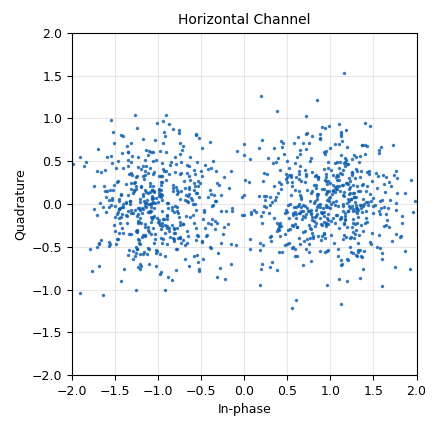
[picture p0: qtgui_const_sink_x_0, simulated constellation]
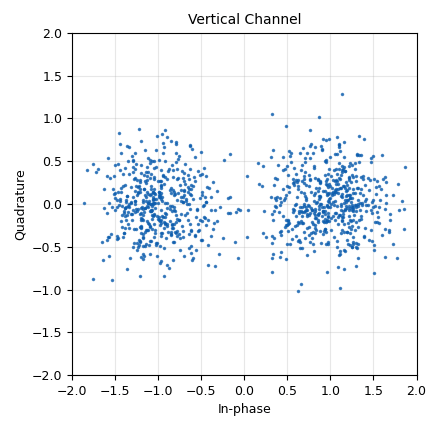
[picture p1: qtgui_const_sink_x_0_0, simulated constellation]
<?xml version='1.0' encoding='utf-8'?>
<?grc format='1' created='3.7.11'?>
<flow_graph>
<block>
<key>options</key>
<param><key>id</key><value>ber_simulation</value></param>
<param><key>author</key><value>Example</value></param>
<param><key>category</key><value>Custom</value></param>
<param><key>description</key><value>Adjust the noise and constellation... see what happens!</value></param>
<param><key>generate_options</key><value>qt_gui</value></param>
<param><key>title</key><value>BER Simulation</value></param>
</block>
<block>
<key>variable_qtgui_range</key>
<param><key>id</key><value>EbN0</value></param>
<param><key>value</key><value>5</value></param>
<param><key>gui_hint</key><value>5,0,1,1</value></param>
<param><key>label</key><value>Eb / N0 (dB)</value></param>
<param><key>min_len</key><value>50</value></param>
<param><key>orient</key><value>Qt.Horizontal</value></param>
<param><key>start</key><value>-20</value></param>
<param><key>step</key><value>1</value></param>
<param><key>stop</key><value>20</value></param>
</block>
<block>
<key>variable</key>
<param><key>id</key><value>const</value></param>
<param><key>value</key><value>(digital.constellation_bpsk(), digital.constellation_qpsk(), digital.constellation_8psk())</value></param>
</block>
<block>
<key>variable_qtgui_chooser</key>
<param><key>id</key><value>const_type</value></param>
<param><key>value</key><value>0</value></param>
<param><key>_enabled</key><value>0</value></param>
<param><key>label0</key><value>BPSK</value></param>
<param><key>label1</key><value>QPSK</value></param>
<param><key>label2</key><value>8PSK</value></param>
<param><key>label</key><value>"Constellation Selection"</value></param>
<param><key>num_opts</key><value>3</value></param>
<param><key>option0</key><value>0</value></param>
<param><key>option1</key><value>1</value></param>
<param><key>option2</key><value>2</value></param>
<param><key>orient</key><value>Qt.QHBoxLayout</value></param>
<param><key>type</key><value>int</value></param>
<param><key>widget</key><value>radio_buttons</value></param>
</block>
<block>
<key>variable</key>
<param><key>id</key><value>const_type</value></param>
<param><key>value</key><value>0</value></param>
</block>
<block>
<key>variable</key>
<param><key>id</key><value>freq</value></param>
<param><key>value</key><value>1e3</value></param>
</block>
<block>
<key>variable_qtgui_range</key>
<param><key>id</key><value>offset</value></param>
<param><key>value</key><value>6*math.pi/20</value></param>
<param><key>gui_hint</key><value>5,1</value></param>
<param><key>label</key><value>Offset</value></param>
<param><key>min_len</key><value>10</value></param>
<param><key>orient</key><value>Qt.Horizontal</value></param>
<param><key>start</key><value>0</value></param>
<param><key>step</key><value>math.pi/20</value></param>
<param><key>stop</key><value>math.pi/2.0</value></param>
</block>
<block>
<key>variable</key>
<param><key>id</key><value>samp_rate</value></param>
<param><key>value</key><value>100e3</value></param>
</block>
<block>
<key>variable</key>
<param><key>id</key><value>samples</value></param>
<param><key>value</key><value>10000000</value></param>
</block>
<block>
<key>variable</key>
<param><key>id</key><value>tx_amp</value></param>
<param><key>_enabled</key><value>0</value></param>
<param><key>value</key><value>10</value></param>
</block>
<block>
<key>variable_qtgui_label</key>
<param><key>id</key><value>variable_qtgui_label_0</value></param>
<param><key>value</key><value>{0: 'BPSK', 1: 'QPSK', 2: '8-PSK'}[const_type] + " - Change const_type for different constellation types!"</value></param>
<param><key>label</key><value>Constellation Type</value></param>
<param><key>type</key><value>string</value></param>
</block>
<block>
<key>Maximal_Combining</key>
<param><key>id</key><value>Maximal_Combining_0</value></param>
</block>
<block>
<key>Selective_Combining</key>
<param><key>id</key><value>Selective_Combining_0</value></param>
</block>
<block>
<key>analog_noise_source_x</key>
<param><key>id</key><value>analog_noise_source_x</value></param>
<param><key>amp</key><value>1.0 / math.sqrt(2.0 * const[const_type].bits_per_symbol() * 10**(math.cos(offset)*math.cos(offset)*EbN0/10))</value></param>
<param><key>noise_type</key><value>analog.GR_GAUSSIAN</value></param>
<param><key>type</key><value>complex</value></param>
<param><key>seed</key><value>-42</value></param>
</block>
<block>
<key>analog_noise_source_x</key>
<param><key>id</key><value>analog_noise_source_x_0</value></param>
<param><key>amp</key><value>1.0 / math.sqrt(2.0 * const[const_type].bits_per_symbol() * 10**(math.cos(math.pi/2-offset)*math.cos(math.pi/2-offset)*EbN0/10))</value></param>
<param><key>noise_type</key><value>analog.GR_GAUSSIAN</value></param>
<param><key>type</key><value>complex</value></param>
<param><key>seed</key><value>-42</value></param>
</block>
<block>
<key>analog_noise_source_x</key>
<param><key>id</key><value>analog_noise_source_x_0_0</value></param>
<param><key>amp</key><value>1.0 / math.sqrt(math.cos(math.pi/2-offset)*math.cos(math.pi/2-offset)*2.0 * const[const_type].bits_per_symbol() * 10**(EbN0/10))</value></param>
<param><key>_enabled</key><value>0</value></param>
<param><key>noise_type</key><value>analog.GR_GAUSSIAN</value></param>
<param><key>type</key><value>complex</value></param>
<param><key>seed</key><value>-42</value></param>
</block>
<block>
<key>analog_noise_source_x</key>
<param><key>id</key><value>analog_noise_source_x_1</value></param>
<param><key>amp</key><value>1.0 / math.sqrt(math.cos(offset)*math.cos(offset)*2.0 * const[const_type].bits_per_symbol() * 10**(EbN0/10))</value></param>
<param><key>_enabled</key><value>0</value></param>
<param><key>noise_type</key><value>analog.GR_GAUSSIAN</value></param>
<param><key>type</key><value>complex</value></param>
<param><key>seed</key><value>-42</value></param>
</block>
<block>
<key>analog_random_source_x</key>
<param><key>id</key><value>analog_random_source_x</value></param>
<param><key>max</key><value>const[const_type].arity()</value></param>
<param><key>min</key><value>0</value></param>
<param><key>num_samps</key><value>samples</value></param>
<param><key>type</key><value>byte</value></param>
<param><key>repeat</key><value>False</value></param>
</block>
<block>
<key>blks2_error_rate</key>
<param><key>id</key><value>blks2_error_rate</value></param>
<param><key>bits_per_symbol</key><value>const[const_type].bits_per_symbol()</value></param>
<param><key>type</key><value>'BER'</value></param>
<param><key>win_size</key><value>samples</value></param>
</block>
<block>
<key>blks2_error_rate</key>
<param><key>id</key><value>blks2_error_rate_0</value></param>
<param><key>bits_per_symbol</key><value>const[const_type].bits_per_symbol()</value></param>
<param><key>type</key><value>'BER'</value></param>
<param><key>win_size</key><value>samples</value></param>
</block>
<block>
<key>blks2_error_rate</key>
<param><key>id</key><value>blks2_error_rate_1</value></param>
<param><key>bits_per_symbol</key><value>const[const_type].bits_per_symbol()</value></param>
<param><key>type</key><value>'BER'</value></param>
<param><key>win_size</key><value>int(1e7)</value></param>
</block>
<block>
<key>blks2_error_rate</key>
<param><key>id</key><value>blks2_error_rate_1_0</value></param>
<param><key>bits_per_symbol</key><value>const[const_type].bits_per_symbol()</value></param>
<param><key>type</key><value>'BER'</value></param>
<param><key>win_size</key><value>int(1e7)</value></param>
</block>
<block>
<key>blocks_add_xx</key>
<param><key>id</key><value>blocks_add_xx</value></param>
<param><key>type</key><value>complex</value></param>
</block>
<block>
<key>blocks_add_xx</key>
<param><key>id</key><value>blocks_add_xx_0</value></param>
<param><key>type</key><value>complex</value></param>
</block>
<block>
<key>blocks_throttle</key>
<param><key>id</key><value>blocks_throttle</value></param>
<param><key>samples_per_second</key><value>samp_rate</value></param>
<param><key>type</key><value>byte</value></param>
</block>
<block>
<key>digital_chunks_to_symbols_xx</key>
<param><key>id</key><value>digital_chunks_to_symbols_xx</value></param>
<param><key>dimension</key><value>1</value></param>
<param><key>in_type</key><value>byte</value></param>
<param><key>out_type</key><value>complex</value></param>
<param><key>symbol_table</key><value>const[const_type].points()</value></param>
</block>
<block>
<key>digital_constellation_decoder_cb</key>
<param><key>id</key><value>digital_constellation_decoder_cb_0</value></param>
<param><key>constellation</key><value>const[const_type].base()</value></param>
</block>
<block>
<key>digital_constellation_decoder_cb</key>
<param><key>id</key><value>digital_constellation_decoder_cb_0_0</value></param>
<param><key>constellation</key><value>const[const_type].base()</value></param>
</block>
<block>
<key>digital_constellation_decoder_cb</key>
<param><key>id</key><value>digital_constellation_decoder_cb_0_0_0</value></param>
<param><key>constellation</key><value>const[const_type].base()</value></param>
</block>
<block>
<key>digital_constellation_decoder_cb</key>
<param><key>id</key><value>digital_constellation_decoder_cb_0_0_0_0</value></param>
<param><key>constellation</key><value>const[const_type].base()</value></param>
</block>
<block>
<key>import</key>
<param><key>id</key><value>import_0</value></param>
<param><key>import</key><value>import math, cmath, numpy</value></param>
</block>
<block>
<key>logpwrfft_x</key>
<param><key>id</key><value>logpwrfft_x_0</value></param>
<param><key>avg_alpha</key><value>1.0</value></param>
<param><key>average</key><value>True</value></param>
<param><key>_enabled</key><value>0</value></param>
<param><key>fft_size</key><value>1024</value></param>
<param><key>frame_rate</key><value>30</value></param>
<param><key>type</key><value>complex</value></param>
<param><key>ref_scale</key><value>2</value></param>
<param><key>sample_rate</key><value>samp_rate</value></param>
</block>
<block>
<key>logpwrfft_x</key>
<param><key>id</key><value>logpwrfft_x_0_0</value></param>
<param><key>avg_alpha</key><value>1.0</value></param>
<param><key>average</key><value>True</value></param>
<param><key>_enabled</key><value>0</value></param>
<param><key>fft_size</key><value>1024</value></param>
<param><key>frame_rate</key><value>30</value></param>
<param><key>type</key><value>complex</value></param>
<param><key>ref_scale</key><value>2</value></param>
<param><key>sample_rate</key><value>samp_rate</value></param>
</block>
<block>
<key>qtgui_const_sink_x</key>
<param><key>id</key><value>qtgui_const_sink_x_0</value></param>
<param><key>gui_hint</key><value>(2,0,1,1)</value></param>
<param><key>grid</key><value>True</value></param>
<param><key>legend</key><value>False</value></param>
<param><key>alpha1</key><value>0.6</value></param>
<param><key>label1</key><value>"Constellation: "+str(const[const_type].arity()) + "-PSK"</value></param>
<param><key>name</key><value>"Horizontal Channel"</value></param>
<param><key>size</key><value>1024</value></param>
<param><key>type</key><value>complex</value></param>
</block>
<block>
<key>qtgui_const_sink_x</key>
<param><key>id</key><value>qtgui_const_sink_x_0_0</value></param>
<param><key>gui_hint</key><value>(2,1,1,1)</value></param>
<param><key>grid</key><value>True</value></param>
<param><key>legend</key><value>False</value></param>
<param><key>alpha1</key><value>0.6</value></param>
<param><key>label1</key><value>"Constellation: "+str(const[const_type].arity()) + "-PSK"</value></param>
<param><key>name</key><value>"Vertical Channel"</value></param>
<param><key>size</key><value>1024</value></param>
<param><key>type</key><value>complex</value></param>
</block>
<block>
<key>qtgui_const_sink_x</key>
<param><key>id</key><value>qtgui_const_sink_x_0_0_0</value></param>
<param><key>gui_hint</key><value>(4,0,1,1)</value></param>
<param><key>grid</key><value>True</value></param>
<param><key>legend</key><value>False</value></param>
<param><key>alpha1</key><value>0.6</value></param>
<param><key>label1</key><value>"Constellation: "+str(const[const_type].arity()) + "-PSK"</value></param>
<param><key>name</key><value>"Result of Maximal Combining"</value></param>
<param><key>size</key><value>1024</value></param>
<param><key>type</key><value>complex</value></param>
<param><key>xmax</key><value>3</value></param>
<param><key>xmin</key><value>-3</value></param>
<param><key>ymax</key><value>3</value></param>
<param><key>ymin</key><value>-3</value></param>
</block>
<block>
<key>qtgui_const_sink_x</key>
<param><key>id</key><value>qtgui_const_sink_x_0_0_0_0</value></param>
<param><key>gui_hint</key><value>4,1,1,1</value></param>
<param><key>grid</key><value>True</value></param>
<param><key>legend</key><value>False</value></param>
<param><key>alpha1</key><value>0.6</value></param>
<param><key>label1</key><value>"Constellation: "+str(const[const_type].arity()) + "-PSK"</value></param>
<param><key>name</key><value>"Result of Selective Combining"</value></param>
<param><key>size</key><value>1024</value></param>
<param><key>type</key><value>complex</value></param>
</block>
<block>
<key>qtgui_number_sink</key>
<param><key>id</key><value>qtgui_number_sink_0</value></param>
<param><key>autoscale</key><value>True</value></param>
<param><key>gui_hint</key><value>1,0,1,1</value></param>
<param><key>graph_type</key><value>qtgui.NUM_GRAPH_HORIZ</value></param>
<param><key>type</key><value>float</value></param>
<param><key>factor1</key><value>1e6</value></param>
<param><key>label1</key><value>BER</value></param>
<param><key>unit1</key><value>x10^-6</value></param>
<param><key>min</key><value>0</value></param>
<param><key>name</key><value>"Horizontal"</value></param>
<param><key>update_time</key><value>0.1</value></param>
</block>
<block>
<key>qtgui_number_sink</key>
<param><key>id</key><value>qtgui_number_sink_0_0</value></param>
<param><key>autoscale</key><value>True</value></param>
<param><key>gui_hint</key><value>1,1,1,1</value></param>
<param><key>graph_type</key><value>qtgui.NUM_GRAPH_HORIZ</value></param>
<param><key>type</key><value>float</value></param>
<param><key>factor1</key><value>1e6</value></param>
<param><key>label1</key><value>BER</value></param>
<param><key>unit1</key><value>x10^-6</value></param>
<param><key>min</key><value>0</value></param>
<param><key>name</key><value>"Vertical"</value></param>
<param><key>update_time</key><value>0.1</value></param>
</block>
<block>
<key>qtgui_number_sink</key>
<param><key>id</key><value>qtgui_number_sink_0_0_0</value></param>
<param><key>autoscale</key><value>True</value></param>
<param><key>gui_hint</key><value>3,0,1,1</value></param>
<param><key>graph_type</key><value>qtgui.NUM_GRAPH_HORIZ</value></param>
<param><key>type</key><value>float</value></param>
<param><key>factor1</key><value>1e6</value></param>
<param><key>label1</key><value>BER</value></param>
<param><key>unit1</key><value>x10^-6</value></param>
<param><key>min</key><value>0</value></param>
<param><key>name</key><value>"Maximally Combined"</value></param>
<param><key>update_time</key><value>0.1</value></param>
</block>
<block>
<key>qtgui_number_sink</key>
<param><key>id</key><value>qtgui_number_sink_0_0_0_0</value></param>
<param><key>autoscale</key><value>True</value></param>
<param><key>gui_hint</key><value>3,1,1,1</value></param>
<param><key>graph_type</key><value>qtgui.NUM_GRAPH_HORIZ</value></param>
<param><key>type</key><value>float</value></param>
<param><key>factor1</key><value>1e6</value></param>
<param><key>label1</key><value>BER</value></param>
<param><key>unit1</key><value>x10^-6</value></param>
<param><key>min</key><value>0</value></param>
<param><key>name</key><value>"Selectively Combined"</value></param>
<param><key>update_time</key><value>0.1</value></param>
</block>
<block>
<key>qtgui_vector_sink_f</key>
<param><key>id</key><value>qtgui_vector_sink_f_0</value></param>
<param><key>_enabled</key><value>0</value></param>
<param><key>name</key><value>"Horizontal"</value></param>
<param><key>showports</key><value>True</value></param>
<param><key>vlen</key><value>1024</value></param>
<param><key>x_start</key><value>0</value></param>
<param><key>x_step</key><value>1.0</value></param>
</block>
<block>
<key>qtgui_vector_sink_f</key>
<param><key>id</key><value>qtgui_vector_sink_f_0_0</value></param>
<param><key>_enabled</key><value>0</value></param>
<param><key>name</key><value>"Vertical"</value></param>
<param><key>showports</key><value>True</value></param>
<param><key>vlen</key><value>1024</value></param>
<param><key>x_start</key><value>0</value></param>
<param><key>x_step</key><value>1.0</value></param>
</block>
<connection><source_block_id>Maximal_Combining_0</source_block_id><sink_block_id>digital_constellation_decoder_cb_0_0_0</sink_block_id><source_key>0</source_key><sink_key>0</sink_key></connection>
<connection><source_block_id>Maximal_Combining_0</source_block_id><sink_block_id>qtgui_const_sink_x_0_0_0</sink_block_id><source_key>0</source_key><sink_key>0</sink_key></connection>
<connection><source_block_id>Selective_Combining_0</source_block_id><sink_block_id>digital_constellation_decoder_cb_0_0_0_0</sink_block_id><source_key>0</source_key><sink_key>0</sink_key></connection>
<connection><source_block_id>Selective_Combining_0</source_block_id><sink_block_id>qtgui_const_sink_x_0_0_0_0</sink_block_id><source_key>0</source_key><sink_key>0</sink_key></connection>
<connection><source_block_id>analog_noise_source_x</source_block_id><sink_block_id>blocks_add_xx</sink_block_id><source_key>0</source_key><sink_key>1</sink_key></connection>
<connection><source_block_id>analog_noise_source_x_0</source_block_id><sink_block_id>blocks_add_xx_0</sink_block_id><source_key>0</source_key><sink_key>1</sink_key></connection>
<connection><source_block_id>analog_noise_source_x_0_0</source_block_id><sink_block_id>blocks_add_xx_0</sink_block_id><source_key>0</source_key><sink_key>1</sink_key></connection>
<connection><source_block_id>analog_noise_source_x_1</source_block_id><sink_block_id>blocks_add_xx</sink_block_id><source_key>0</source_key><sink_key>1</sink_key></connection>
<connection><source_block_id>analog_random_source_x</source_block_id><sink_block_id>blocks_throttle</sink_block_id><source_key>0</source_key><sink_key>0</sink_key></connection>
<connection><source_block_id>analog_random_source_x</source_block_id><sink_block_id>digital_chunks_to_symbols_xx</sink_block_id><source_key>0</source_key><sink_key>0</sink_key></connection>
<connection><source_block_id>blks2_error_rate</source_block_id><sink_block_id>qtgui_number_sink_0</sink_block_id><source_key>0</source_key><sink_key>0</sink_key></connection>
<connection><source_block_id>blks2_error_rate_0</source_block_id><sink_block_id>qtgui_number_sink_0_0</sink_block_id><source_key>0</source_key><sink_key>0</sink_key></connection>
<connection><source_block_id>blks2_error_rate_1</source_block_id><sink_block_id>qtgui_number_sink_0_0_0</sink_block_id><source_key>0</source_key><sink_key>0</sink_key></connection>
<connection><source_block_id>blks2_error_rate_1_0</source_block_id><sink_block_id>qtgui_number_sink_0_0_0_0</sink_block_id><source_key>0</source_key><sink_key>0</sink_key></connection>
<connection><source_block_id>blocks_add_xx</source_block_id><sink_block_id>Maximal_Combining_0</sink_block_id><source_key>0</source_key><sink_key>0</sink_key></connection>
<connection><source_block_id>blocks_add_xx</source_block_id><sink_block_id>Selective_Combining_0</sink_block_id><source_key>0</source_key><sink_key>0</sink_key></connection>
<connection><source_block_id>blocks_add_xx</source_block_id><sink_block_id>digital_constellation_decoder_cb_0</sink_block_id><source_key>0</source_key><sink_key>0</sink_key></connection>
<connection><source_block_id>blocks_add_xx</source_block_id><sink_block_id>logpwrfft_x_0</sink_block_id><source_key>0</source_key><sink_key>0</sink_key></connection>
<connection><source_block_id>blocks_add_xx</source_block_id><sink_block_id>qtgui_const_sink_x_0</sink_block_id><source_key>0</source_key><sink_key>0</sink_key></connection>
<connection><source_block_id>blocks_add_xx_0</source_block_id><sink_block_id>Maximal_Combining_0</sink_block_id><source_key>0</source_key><sink_key>1</sink_key></connection>
<connection><source_block_id>blocks_add_xx_0</source_block_id><sink_block_id>Selective_Combining_0</sink_block_id><source_key>0</source_key><sink_key>1</sink_key></connection>
<connection><source_block_id>blocks_add_xx_0</source_block_id><sink_block_id>digital_constellation_decoder_cb_0_0</sink_block_id><source_key>0</source_key><sink_key>0</sink_key></connection>
<connection><source_block_id>blocks_add_xx_0</source_block_id><sink_block_id>logpwrfft_x_0_0</sink_block_id><source_key>0</source_key><sink_key>0</sink_key></connection>
<connection><source_block_id>blocks_add_xx_0</source_block_id><sink_block_id>qtgui_const_sink_x_0_0</sink_block_id><source_key>0</source_key><sink_key>0</sink_key></connection>
<connection><source_block_id>blocks_throttle</source_block_id><sink_block_id>blks2_error_rate</sink_block_id><source_key>0</source_key><sink_key>0</sink_key></connection>
<connection><source_block_id>blocks_throttle</source_block_id><sink_block_id>blks2_error_rate_0</sink_block_id><source_key>0</source_key><sink_key>0</sink_key></connection>
<connection><source_block_id>blocks_throttle</source_block_id><sink_block_id>blks2_error_rate_1</sink_block_id><source_key>0</source_key><sink_key>0</sink_key></connection>
<connection><source_block_id>blocks_throttle</source_block_id><sink_block_id>blks2_error_rate_1_0</sink_block_id><source_key>0</source_key><sink_key>0</sink_key></connection>
<connection><source_block_id>digital_chunks_to_symbols_xx</source_block_id><sink_block_id>blocks_add_xx</sink_block_id><source_key>0</source_key><sink_key>0</sink_key></connection>
<connection><source_block_id>digital_chunks_to_symbols_xx</source_block_id><sink_block_id>blocks_add_xx_0</sink_block_id><source_key>0</source_key><sink_key>0</sink_key></connection>
<connection><source_block_id>digital_constellation_decoder_cb_0</source_block_id><sink_block_id>blks2_error_rate</sink_block_id><source_key>0</source_key><sink_key>1</sink_key></connection>
<connection><source_block_id>digital_constellation_decoder_cb_0_0</source_block_id><sink_block_id>blks2_error_rate_0</sink_block_id><source_key>0</source_key><sink_key>1</sink_key></connection>
<connection><source_block_id>digital_constellation_decoder_cb_0_0_0</source_block_id><sink_block_id>blks2_error_rate_1</sink_block_id><source_key>0</source_key><sink_key>1</sink_key></connection>
<connection><source_block_id>digital_constellation_decoder_cb_0_0_0_0</source_block_id><sink_block_id>blks2_error_rate_1_0</sink_block_id><source_key>0</source_key><sink_key>1</sink_key></connection>
<connection><source_block_id>logpwrfft_x_0</source_block_id><sink_block_id>qtgui_vector_sink_f_0</sink_block_id><source_key>0</source_key><sink_key>0</sink_key></connection>
<connection><source_block_id>logpwrfft_x_0_0</source_block_id><sink_block_id>qtgui_vector_sink_f_0_0</sink_block_id><source_key>0</source_key><sink_key>0</sink_key></connection>
</flow_graph>
